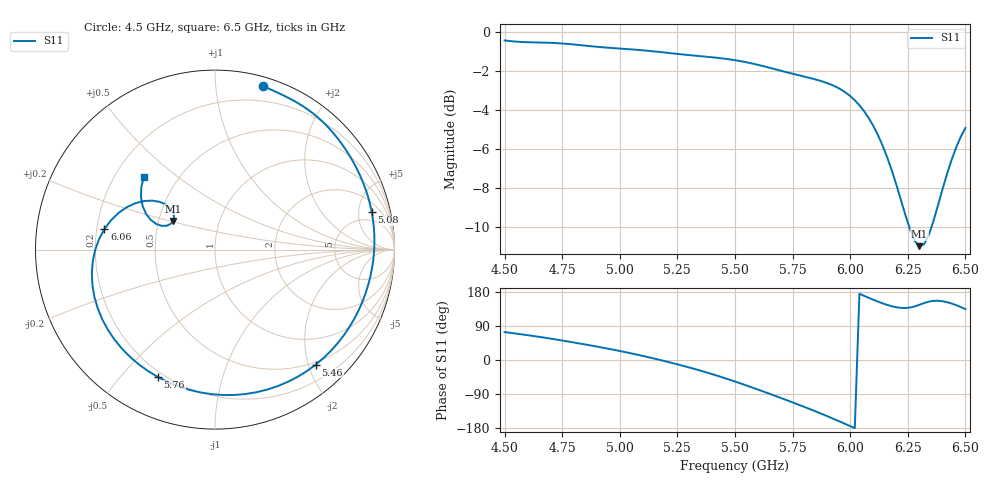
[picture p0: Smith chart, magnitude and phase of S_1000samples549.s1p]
! TOUCHSTONE file generated by CST MICROWAVE STUDIO
! Date and time: Fri Oct 28 13:31:06 2022
! Project name: L.cst
! Parameters = {Di=1.27; Epsilon_r=1.56; InnerDiameter=1.27; Length=2; Lf=10; Lg=60; OuterConductorThickness=0.2921; OuterDiameter=3.6; Wf=3; Wp=41.2; de=1.5; df=6.8; g=0.8; gx=3.32442; gy=0.918477; h=2.34; hf=1.524; px=8.51638; py=11.1973; w=9.7; wx=5.19196; wy=10.2788}
! Header version: 2018
! Port assignment regex: !\s*Touchstone port\s*([0-9]+)\s*=\s*(CST MWS port|CST DS port)\s*([0-9]+|Zmin|Zmax)\s*\(\"(.*)\"\)(\s*mode\s*([0-9]+))?.*
! Touchstone port assignment:
! Touchstone port 1 = CST MWS port 1 ("")
# GHz S DB R 50
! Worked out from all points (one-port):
!   101 points, 4.5 GHz to 6.5 GHz, reference 50 ohm
!   lowest |S11| = -11.0 dB at 6.3 GHz (marker M1), VSWR 1.79, Z = 29.8 + j10.3 ohm
!   |S11| at or under -10 dB: 6.256 GHz to 6.353 GHz (96.06 MHz wide, 1.52 % of centre)
!   S11 on the Smith chart (normalised r, x): 4.5 GHz: 0.07, +1.33; 5.08 GHz: 3.24, +7.00; 5.46 GHz: 0.46, -2.13; 5.76 GHz: 0.18, -0.63; 6.06 GHz: 0.23, +0.09; 6.5 GHz: 0.32, +0.38
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4.5  -0.45 73.7
4.64  -0.55 62.0
4.76  -0.62 50.4
5  -0.86 23.8
5.08  -0.93 13.5
5.18  -1.05 -0.7
5.26  -1.15 -13.0
5.36  -1.27 -29.9
5.46  -1.39 -48.7
5.5  -1.46 -56.8
5.58  -1.64 -73.7
5.64  -1.82 -86.9
5.7  -2.00 -100.4
5.76  -2.18 -114.2
5.82  -2.36 -128.4
5.9  -2.63 -148.2
5.96  -2.96 -163.8
6  -3.30 -174.5
6.06  -4.06 169.4
6.12  -5.28 154.2
6.16  -6.41 145.5
6.22  -8.60 137.5
6.26  -10.13 138.4
6.3  -10.97 145.5
6.34  -10.43 153.8
6.4  -8.09 155.2
6.46  -5.92 144.7
6.5  -4.93 134.3
